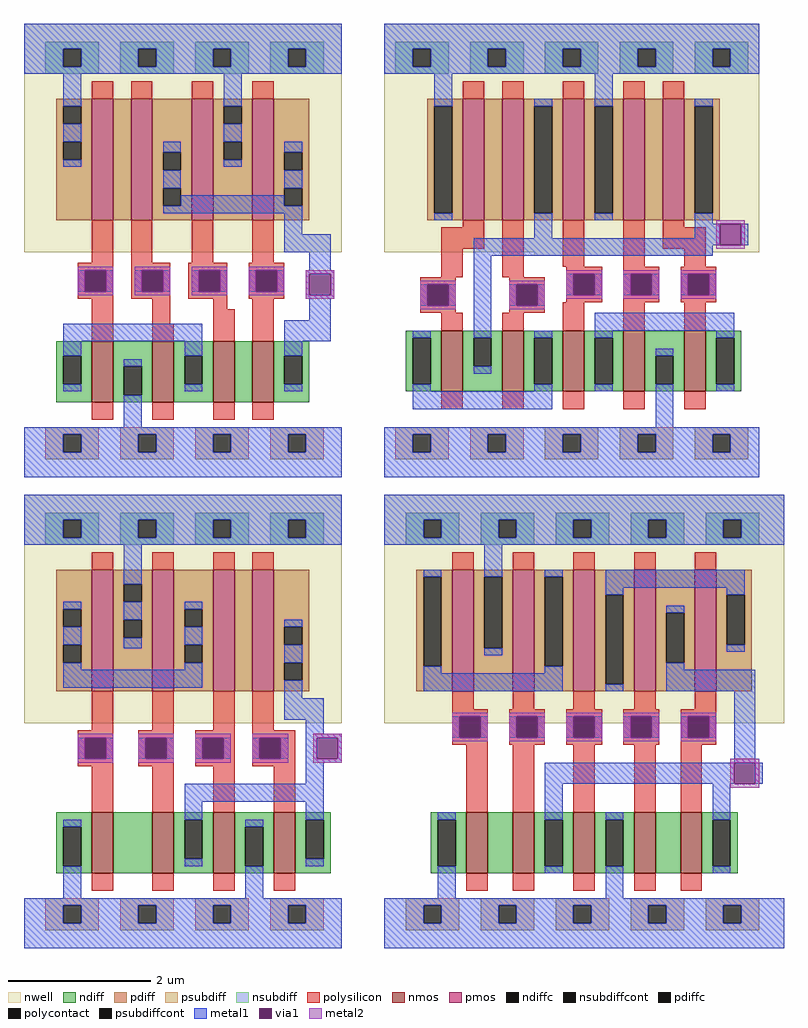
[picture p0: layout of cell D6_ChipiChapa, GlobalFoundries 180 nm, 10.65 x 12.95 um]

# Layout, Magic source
magic
tech gf180mcuD
use gf180mcu_gp9t3v3__aoi221_1  gf180mcu_gp9t3v3__aoi221_1_0 /foss/designs/SSCS-Chipaton-2025_ChipiChapa/designs/aoi221
transform 1 0 107 0 1 5
box -6 -5 106 122
use gf180mcu_gp9t3v3_oai211_1  gf180mcu_gp9t3v3_oai211_1_0 /foss/designs/SSCS-Chipaton-2025_ChipiChapa/designs/oai211
transform 1 0 60 0 1 189
box -60 -57 29 70
use gf180mcu_gp9t3v3_oai221_1  gf180mcu_gp9t3v3_oai221_1_0 /foss/designs/SSCS-Chipaton-2025_ChipiChapa/designs/oai221
transform 1 0 118 0 1 163
box -17 -31 88 96
use gf180mcu_osu_sc_gp9t3v3_aoi211_1  gf180mcu_osu_sc_gp9t3v3_aoi211_1_0 /foss/designs/SSCS-Chipaton-2025_ChipiChapa/designs/aoi211
transform 1 0 18 0 1 18
box -18 -18 71 109
<< end >>

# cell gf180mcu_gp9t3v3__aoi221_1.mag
magic
tech gf180mcuD
<< nwell >>
rect -6 58 106 122
<< nmos >>
rect 17 16 23 33
rect 30 16 36 33
rect 47 16 53 33
rect 64 16 70 33
rect 77 16 83 33
<< pmos >>
rect 13 67 19 101
rect 30 67 36 101
rect 47 67 53 101
rect 64 67 70 101
rect 81 67 87 101
<< ndiff >>
rect 7 31 17 33
rect 7 18 9 31
rect 14 18 17 31
rect 7 16 17 18
rect 23 16 30 33
rect 36 31 47 33
rect 36 18 39 31
rect 44 18 47 31
rect 36 16 47 18
rect 53 31 64 33
rect 53 18 56 31
rect 61 18 64 31
rect 53 16 64 18
rect 70 16 77 33
rect 83 31 93 33
rect 83 18 86 31
rect 91 18 93 31
rect 83 16 93 18
<< pdiff >>
rect 3 99 13 101
rect 3 74 5 99
rect 10 74 13 99
rect 3 67 13 74
rect 19 99 30 101
rect 19 79 22 99
rect 27 79 30 99
rect 19 67 30 79
rect 36 99 47 101
rect 36 74 39 99
rect 44 74 47 99
rect 36 67 47 74
rect 53 94 64 101
rect 53 69 56 94
rect 61 69 64 94
rect 53 67 64 69
rect 70 89 81 101
rect 70 75 73 89
rect 78 75 81 89
rect 70 67 81 75
rect 87 94 97 101
rect 87 80 90 94
rect 95 80 97 94
rect 87 67 97 80
<< ndiffc >>
rect 9 18 14 31
rect 39 18 44 31
rect 56 18 61 31
rect 86 18 91 31
<< pdiffc >>
rect 5 74 10 99
rect 22 79 27 99
rect 39 74 44 99
rect 56 69 61 94
rect 73 75 78 89
rect 90 80 95 94
<< psubdiff >>
rect 0 7 15 9
rect 0 2 5 7
rect 10 2 15 7
rect 0 0 15 2
rect 21 7 36 9
rect 21 2 26 7
rect 31 2 36 7
rect 21 0 36 2
rect 42 7 57 9
rect 42 2 47 7
rect 52 2 57 7
rect 42 0 57 2
rect 63 7 78 9
rect 63 2 68 7
rect 73 2 78 7
rect 63 0 78 2
rect 84 7 99 9
rect 84 2 89 7
rect 94 2 99 7
rect 84 0 99 2
<< nsubdiff >>
rect 0 115 15 117
rect 0 110 5 115
rect 10 110 15 115
rect 0 108 15 110
rect 21 115 36 117
rect 21 110 26 115
rect 31 110 36 115
rect 21 108 36 110
rect 42 115 57 117
rect 42 110 47 115
rect 52 110 57 115
rect 42 108 57 110
rect 63 115 78 117
rect 63 110 68 115
rect 73 110 78 115
rect 63 108 78 110
rect 84 115 99 117
rect 84 110 89 115
rect 94 110 99 115
rect 84 108 99 110
<< psubdiffcont >>
rect 5 2 10 7
rect 26 2 31 7
rect 47 2 52 7
rect 68 2 73 7
rect 89 2 94 7
<< nsubdiffcont >>
rect 5 110 10 115
rect 26 110 31 115
rect 47 110 52 115
rect 68 110 73 115
rect 89 110 94 115
<< polysilicon >>
rect 13 101 19 106
rect 30 101 36 106
rect 47 101 53 106
rect 64 101 70 106
rect 81 101 87 106
rect 13 62 19 67
rect 30 62 36 67
rect 47 62 53 67
rect 64 62 70 67
rect 81 62 87 67
rect 13 60 23 62
rect 13 54 15 60
rect 21 54 23 60
rect 13 52 23 54
rect 29 60 39 62
rect 29 54 31 60
rect 37 54 39 60
rect 29 52 39 54
rect 45 60 55 62
rect 45 54 47 60
rect 53 54 55 60
rect 45 52 55 54
rect 61 60 71 62
rect 61 54 63 60
rect 69 54 71 60
rect 61 52 71 54
rect 77 60 87 62
rect 77 54 79 60
rect 85 54 87 60
rect 77 52 87 54
rect 17 33 23 52
rect 30 33 36 52
rect 47 33 53 52
rect 64 33 70 52
rect 77 33 83 52
rect 17 11 23 16
rect 30 11 36 16
rect 47 11 53 16
rect 64 11 70 16
rect 77 11 83 16
<< polycontact >>
rect 15 54 21 60
rect 31 54 37 60
rect 47 54 53 60
rect 63 54 69 60
rect 79 54 85 60
<< metal1 >>
rect -6 115 106 122
rect -6 110 5 115
rect 10 110 26 115
rect 31 110 47 115
rect 52 110 68 115
rect 73 110 89 115
rect 94 110 106 115
rect -6 108 106 110
rect 5 99 10 101
rect 22 99 27 108
rect 22 77 27 79
rect 39 99 44 101
rect 5 72 10 74
rect 39 72 44 74
rect 5 67 44 72
rect 56 96 95 101
rect 56 94 61 96
rect 90 94 95 96
rect 56 67 61 69
rect 73 89 78 91
rect 90 78 95 80
rect 73 73 78 75
rect 73 67 98 73
rect 13 54 15 60
rect 21 54 23 60
rect 29 54 31 60
rect 37 54 39 60
rect 45 54 47 60
rect 53 54 55 60
rect 61 54 63 60
rect 69 54 71 60
rect 77 54 79 60
rect 85 54 87 60
rect 92 47 98 67
rect 39 41 92 47
rect 98 41 100 47
rect 9 31 14 33
rect 9 9 14 18
rect 39 31 44 41
rect 39 16 44 18
rect 56 31 61 33
rect 56 9 61 18
rect 86 31 91 41
rect 86 16 91 18
rect -6 7 106 9
rect -6 2 5 7
rect 10 2 26 7
rect 31 2 47 7
rect 52 2 68 7
rect 73 2 89 7
rect 94 2 106 7
rect -6 -5 106 2
<< via1 >>
rect 15 54 21 60
rect 31 54 37 60
rect 47 54 53 60
rect 63 54 69 60
rect 79 54 85 60
rect 92 41 98 47
<< metal2 >>
rect 13 60 23 61
rect 13 54 15 60
rect 21 54 23 60
rect 13 53 23 54
rect 29 60 39 61
rect 29 54 31 60
rect 37 54 39 60
rect 29 53 39 54
rect 45 60 55 61
rect 45 54 47 60
rect 53 54 55 60
rect 45 53 55 54
rect 61 60 71 61
rect 61 54 63 60
rect 69 54 71 60
rect 61 53 71 54
rect 77 60 87 61
rect 77 54 79 60
rect 85 54 87 60
rect 77 53 87 54
rect 91 47 99 48
rect 91 41 92 47
rect 98 41 99 47
rect 91 40 99 41
<< labels >>
rlabel metal1 -6 114 -6 114 3 vdd
port 7 e power bidirectional abutment
rlabel metal1 -6 1 -6 1 3 vss
port 8 e ground bidirectional abutment
rlabel polycontact 82 57 82 57 1 A0
port 1 n signal input
rlabel via1 94 41 94 41 1 Y
port 6 n signal output
rlabel polycontact 66 57 66 57 1 A1
port 2 n signal input
rlabel polycontact 50 57 50 57 1 C
port 5 n signal input
rlabel polycontact 34 57 34 57 1 B0
port 3 n signal input
rlabel polycontact 18 57 18 57 1 B1
port 4 n signal input
<< end >>

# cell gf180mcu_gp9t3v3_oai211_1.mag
magic
tech gf180mcuD
<< nwell >>
rect -60 6 29 70
<< nmos >>
rect -41 -36 -35 -19
rect -24 -36 -18 -19
rect -7 -36 -1 -19
rect 4 -36 10 -19
<< pmos >>
rect -41 15 -35 49
rect -30 15 -24 49
rect -13 15 -7 49
rect 4 15 10 49
<< ndiff >>
rect -51 -23 -41 -19
rect -51 -31 -49 -23
rect -44 -31 -41 -23
rect -51 -36 -41 -31
rect -35 -26 -24 -19
rect -35 -34 -32 -26
rect -27 -34 -24 -26
rect -35 -36 -24 -34
rect -18 -23 -7 -19
rect -18 -31 -15 -23
rect -10 -31 -7 -23
rect -18 -36 -7 -31
rect -1 -36 4 -19
rect 10 -23 20 -19
rect 10 -31 13 -23
rect 18 -31 20 -23
rect 10 -36 20 -31
<< pdiff >>
rect -51 47 -41 49
rect -51 42 -49 47
rect -44 42 -41 47
rect -51 37 -41 42
rect -51 32 -49 37
rect -44 32 -41 37
rect -51 15 -41 32
rect -35 15 -30 49
rect -24 34 -13 49
rect -24 29 -21 34
rect -16 29 -13 34
rect -24 24 -13 29
rect -24 19 -21 24
rect -16 19 -13 24
rect -24 15 -13 19
rect -7 47 4 49
rect -7 42 -4 47
rect 1 42 4 47
rect -7 37 4 42
rect -7 32 -4 37
rect 1 32 4 37
rect -7 15 4 32
rect 10 34 20 49
rect 10 29 13 34
rect 18 29 20 34
rect 10 24 20 29
rect 10 19 13 24
rect 18 19 20 24
rect 10 15 20 19
<< ndiffc >>
rect -49 -31 -44 -23
rect -32 -34 -27 -26
rect -15 -31 -10 -23
rect 13 -31 18 -23
<< pdiffc >>
rect -49 42 -44 47
rect -49 32 -44 37
rect -21 29 -16 34
rect -21 19 -16 24
rect -4 42 1 47
rect -4 32 1 37
rect 13 29 18 34
rect 13 19 18 24
<< psubdiff >>
rect -54 -45 -39 -43
rect -54 -50 -49 -45
rect -44 -50 -39 -45
rect -54 -52 -39 -50
rect -33 -45 -18 -43
rect -33 -50 -28 -45
rect -23 -50 -18 -45
rect -33 -52 -18 -50
rect -12 -45 3 -43
rect -12 -50 -7 -45
rect -2 -50 3 -45
rect -12 -52 3 -50
rect 9 -45 24 -43
rect 9 -50 14 -45
rect 19 -50 24 -45
rect 9 -52 24 -50
<< nsubdiff >>
rect -54 63 -39 65
rect -54 58 -49 63
rect -44 58 -39 63
rect -54 56 -39 58
rect -33 63 -18 65
rect -33 58 -28 63
rect -23 58 -18 63
rect -33 56 -18 58
rect -12 63 3 65
rect -12 58 -7 63
rect -2 58 3 63
rect -12 56 3 58
rect 9 63 24 65
rect 9 58 14 63
rect 19 58 24 63
rect 9 56 24 58
<< psubdiffcont >>
rect -49 -50 -44 -45
rect -28 -50 -23 -45
rect -7 -50 -2 -45
rect 14 -50 19 -45
<< nsubdiffcont >>
rect -49 58 -44 63
rect -28 58 -23 63
rect -7 58 -2 63
rect 14 58 19 63
<< polysilicon >>
rect -41 49 -35 54
rect -30 49 -24 54
rect -13 49 -7 54
rect 4 49 10 54
rect -41 3 -35 15
rect -45 1 -35 3
rect -45 -5 -43 1
rect -37 -5 -35 1
rect -45 -7 -35 -5
rect -30 3 -24 15
rect -13 3 -7 15
rect 4 3 10 15
rect -30 1 -19 3
rect -30 -5 -27 1
rect -21 -5 -19 1
rect -30 -7 -19 -5
rect -14 1 -3 3
rect -14 -5 -11 1
rect -5 -5 -3 1
rect -14 -7 -3 -5
rect 3 1 13 3
rect 3 -5 5 1
rect 11 -5 13 1
rect 3 -7 13 -5
rect -41 -19 -35 -7
rect -24 -14 -19 -7
rect -7 -10 -3 -7
rect -24 -19 -18 -14
rect -7 -19 -1 -10
rect 4 -19 10 -7
rect -41 -41 -35 -36
rect -24 -41 -18 -36
rect -7 -41 -1 -36
rect 4 -41 10 -36
<< polycontact >>
rect -43 -5 -37 1
rect -27 -5 -21 1
rect -11 -5 -5 1
rect 5 -5 11 1
<< metal1 >>
rect -60 63 29 70
rect -60 58 -49 63
rect -44 58 -28 63
rect -23 58 -7 63
rect -2 58 14 63
rect 19 58 29 63
rect -60 56 29 58
rect -49 47 -44 56
rect -49 37 -44 42
rect -4 47 1 56
rect -4 37 1 42
rect -49 30 -44 32
rect -21 34 -16 37
rect -4 30 1 32
rect 13 34 18 37
rect -21 24 -16 29
rect 13 24 18 29
rect -16 19 13 22
rect -21 17 18 19
rect 13 11 18 17
rect 13 6 26 11
rect 20 1 26 6
rect -45 -5 -43 1
rect -37 -5 -35 1
rect -29 -5 -27 1
rect -21 -5 -19 1
rect -13 -5 -11 1
rect -5 -5 -3 1
rect 3 -5 5 1
rect 11 -5 13 1
rect 19 0 27 1
rect 19 -6 20 0
rect 26 -6 27 0
rect 19 -7 27 -6
rect 20 -13 26 -7
rect -49 -19 -10 -14
rect -49 -23 -44 -19
rect -15 -23 -10 -19
rect -49 -33 -44 -31
rect -32 -26 -27 -24
rect -15 -33 -10 -31
rect 13 -19 26 -13
rect 13 -23 18 -19
rect 13 -33 18 -31
rect -32 -43 -27 -34
rect -60 -45 29 -43
rect -60 -50 -49 -45
rect -44 -50 -28 -45
rect -23 -50 -7 -45
rect -2 -50 14 -45
rect 19 -50 29 -45
rect -60 -57 29 -50
<< via1 >>
rect -43 -5 -37 1
rect -27 -5 -21 1
rect -11 -5 -5 1
rect 5 -5 11 1
rect 20 -6 26 0
<< metal2 >>
rect -45 1 -35 2
rect -45 -5 -43 1
rect -37 -5 -35 1
rect -45 -6 -35 -5
rect -29 1 -19 2
rect -29 -5 -27 1
rect -21 -5 -19 1
rect -29 -6 -19 -5
rect -13 1 -3 2
rect -13 -5 -11 1
rect -5 -5 -3 1
rect -13 -6 -3 -5
rect 3 1 13 2
rect 3 -5 5 1
rect 11 -5 13 1
rect 3 -6 13 -5
rect 19 0 27 1
rect 19 -6 20 0
rect 26 -6 27 0
rect 19 -7 27 -6
<< labels >>
rlabel metal2 -27 -5 -21 1 0 A1
rlabel metal2 -11 -5 -5 1 0 B
rlabel metal2 5 -5 11 1 0 C
rlabel nsubdiffcont -49 58 -44 63 0 vdd
rlabel psubdiffcont -49 -50 -44 -45 0 vss
rlabel metal2 20 -6 26 0 0 Y
rlabel metal2 -43 -5 -37 1 0 A0
<< end >>

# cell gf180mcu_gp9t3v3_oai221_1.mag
magic
tech gf180mcuD
<< nwell >>
rect -17 32 88 96
rect 25 31 75 32
<< nmos >>
rect -1 -7 5 10
rect 16 -7 22 10
rect 33 -7 39 10
rect 50 -7 56 10
rect 67 -7 73 10
<< pmos >>
rect 5 41 11 75
rect 16 41 22 75
rect 33 41 39 75
rect 50 41 56 75
rect 61 41 67 75
<< ndiff >>
rect -11 8 -1 10
rect -11 -5 -9 8
rect -4 -5 -1 8
rect -11 -7 -1 -5
rect 5 8 16 10
rect 5 0 8 8
rect 13 0 16 8
rect 5 -7 16 0
rect 22 8 33 10
rect 22 -5 25 8
rect 30 -5 33 8
rect 22 -7 33 -5
rect 39 8 50 10
rect 39 -5 42 8
rect 47 -5 50 8
rect 39 -7 50 -5
rect 56 3 67 10
rect 56 -5 59 3
rect 64 -5 67 3
rect 56 -7 67 -5
rect 73 8 83 10
rect 73 -5 76 8
rect 81 -5 83 8
rect 73 -7 83 -5
<< pdiff >>
rect -5 73 5 75
rect -5 43 -3 73
rect 2 43 5 73
rect -5 41 5 43
rect 11 41 16 75
rect 22 73 33 75
rect 22 43 25 73
rect 30 43 33 73
rect 22 41 33 43
rect 39 73 50 75
rect 39 43 42 73
rect 47 43 50 73
rect 39 41 50 43
rect 56 41 61 75
rect 67 73 77 75
rect 67 43 70 73
rect 75 43 77 73
rect 67 41 77 43
<< ndiffc >>
rect -9 -5 -4 8
rect 8 0 13 8
rect 25 -5 30 8
rect 42 -5 47 8
rect 59 -5 64 3
rect 76 -5 81 8
<< pdiffc >>
rect -3 43 2 73
rect 25 43 30 73
rect 42 43 47 73
rect 70 43 75 73
<< psubdiff >>
rect -14 -19 1 -17
rect -14 -24 -9 -19
rect -4 -24 1 -19
rect -14 -26 1 -24
rect 7 -19 22 -17
rect 7 -24 12 -19
rect 17 -24 22 -19
rect 7 -26 22 -24
rect 28 -19 43 -17
rect 28 -24 33 -19
rect 38 -24 43 -19
rect 28 -26 43 -24
rect 49 -19 64 -17
rect 49 -24 54 -19
rect 59 -24 64 -19
rect 49 -26 64 -24
rect 70 -19 85 -17
rect 70 -24 75 -19
rect 80 -24 85 -19
rect 70 -26 85 -24
<< nsubdiff >>
rect -14 89 1 91
rect -14 84 -9 89
rect -4 84 1 89
rect -14 82 1 84
rect 7 89 22 91
rect 7 84 12 89
rect 17 84 22 89
rect 7 82 22 84
rect 28 89 43 91
rect 28 84 33 89
rect 38 84 43 89
rect 28 82 43 84
rect 49 89 64 91
rect 49 84 54 89
rect 59 84 64 89
rect 49 82 64 84
rect 70 89 85 91
rect 70 84 75 89
rect 80 84 85 89
rect 70 82 85 84
<< psubdiffcont >>
rect -9 -24 -4 -19
rect 12 -24 17 -19
rect 33 -24 38 -19
rect 54 -24 59 -19
rect 75 -24 80 -19
<< nsubdiffcont >>
rect -9 84 -4 89
rect 12 84 17 89
rect 33 84 38 89
rect 54 84 59 89
rect 75 84 80 89
<< polysilicon >>
rect 5 75 11 80
rect 16 75 22 80
rect 33 75 39 80
rect 50 75 56 80
rect 61 75 67 80
rect 5 39 11 41
rect -1 33 11 39
rect -1 25 5 33
rect 16 25 22 41
rect 33 28 39 41
rect 50 28 56 41
rect 61 39 67 41
rect 61 33 73 39
rect 67 28 73 33
rect 34 26 44 28
rect -7 23 3 25
rect -7 17 -5 23
rect 1 17 3 23
rect -7 15 3 17
rect 18 23 28 25
rect 18 17 20 23
rect 26 17 28 23
rect 34 20 36 26
rect 42 20 44 26
rect 34 18 44 20
rect 50 26 60 28
rect 50 20 52 26
rect 58 20 60 26
rect 50 18 60 20
rect 66 26 76 28
rect 66 20 68 26
rect 74 20 76 26
rect 66 18 76 20
rect 18 15 28 17
rect -1 10 5 15
rect 16 10 22 15
rect 33 10 39 18
rect 50 10 56 18
rect 67 10 73 18
rect -1 -12 5 -7
rect 16 -12 22 -7
rect 33 -12 39 -7
rect 50 -12 56 -7
rect 67 -12 73 -7
<< polycontact >>
rect -5 17 1 23
rect 20 17 26 23
rect 36 20 42 26
rect 52 20 58 26
rect 68 20 74 26
<< metal1 >>
rect -17 89 88 96
rect -17 84 -9 89
rect -4 84 12 89
rect 17 84 33 89
rect 38 84 54 89
rect 59 84 75 89
rect 80 84 88 89
rect -17 82 88 84
rect -3 73 2 82
rect -3 41 2 43
rect 25 73 30 75
rect 25 36 30 43
rect 42 73 47 82
rect 42 41 47 43
rect 70 73 75 75
rect 70 40 75 43
rect 70 36 77 40
rect 8 34 77 36
rect 83 34 85 40
rect 8 31 75 34
rect -7 17 -5 23
rect 1 17 3 23
rect -9 8 -4 10
rect 8 8 13 31
rect 18 17 20 23
rect 26 17 28 23
rect 34 20 36 26
rect 42 20 44 26
rect 50 20 52 26
rect 58 20 60 26
rect 66 20 68 26
rect 74 20 76 26
rect 42 10 81 15
rect 8 -2 13 0
rect 25 8 30 10
rect -9 -7 -4 -5
rect 25 -7 30 -5
rect 42 8 47 10
rect 76 8 81 10
rect 42 -7 47 -5
rect 59 3 64 5
rect -9 -12 30 -7
rect 59 -17 64 -5
rect 76 -7 81 -5
rect -17 -19 88 -17
rect -17 -24 -9 -19
rect -4 -24 12 -19
rect 17 -24 33 -19
rect 38 -24 54 -19
rect 59 -24 75 -19
rect 80 -24 88 -19
rect -17 -31 88 -24
<< via1 >>
rect 77 34 83 40
rect -5 17 1 23
rect 20 17 26 23
rect 36 20 42 26
rect 52 20 58 26
rect 68 20 74 26
<< metal2 >>
rect 76 40 84 41
rect 76 34 77 40
rect 83 34 84 40
rect 76 33 84 34
rect 34 26 44 27
rect -7 23 3 24
rect -7 17 -5 23
rect 1 17 3 23
rect -7 16 3 17
rect 18 23 28 24
rect 18 17 20 23
rect 26 17 28 23
rect 34 20 36 26
rect 42 20 44 26
rect 34 19 44 20
rect 50 26 60 27
rect 50 20 52 26
rect 58 20 60 26
rect 50 19 60 20
rect 66 26 76 27
rect 66 20 68 26
rect 74 20 76 26
rect 66 19 76 20
rect 18 16 28 17
<< labels >>
rlabel metal2 -5 17 1 23 1 A0
rlabel metal2 20 17 26 23 1 A1
rlabel metal2 36 20 42 26 1 C
rlabel metal2 52 20 58 26 1 B0
rlabel metal2 68 20 74 26 1 B1
rlabel via1 77 34 83 40 1 Y
rlabel nsubdiffcont -9 84 -4 89 1 vdd
rlabel psubdiffcont -9 -24 -4 -19 1 vss
<< end >>

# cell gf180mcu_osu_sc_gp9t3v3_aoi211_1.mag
magic
tech gf180mcuD
<< nwell >>
rect -18 45 71 109
<< nmos >>
rect 1 3 7 20
rect 18 3 24 20
rect 35 3 41 20
rect 52 3 58 20
<< pmos >>
rect 1 54 7 88
rect 18 54 24 88
rect 35 54 41 88
rect 46 54 52 88
<< ndiff >>
rect -9 16 1 20
rect -9 5 -7 16
rect -2 5 1 16
rect -9 3 1 5
rect 7 3 18 20
rect 24 18 35 20
rect 24 7 27 18
rect 32 7 35 18
rect 24 3 35 7
rect 41 16 52 20
rect 41 5 44 16
rect 49 5 52 16
rect 41 3 52 5
rect 58 18 68 20
rect 58 7 61 18
rect 66 7 68 18
rect 58 3 68 7
<< pdiff >>
rect -9 77 1 88
rect -9 72 -7 77
rect -2 72 1 77
rect -9 67 1 72
rect -9 62 -7 67
rect -2 62 1 67
rect -9 54 1 62
rect 7 84 18 88
rect 7 79 10 84
rect 15 79 18 84
rect 7 74 18 79
rect 7 69 10 74
rect 15 69 18 74
rect 7 54 18 69
rect 24 77 35 88
rect 24 72 27 77
rect 32 72 35 77
rect 24 67 35 72
rect 24 62 27 67
rect 32 62 35 67
rect 24 54 35 62
rect 41 54 46 88
rect 52 72 62 88
rect 52 67 55 72
rect 60 67 62 72
rect 52 62 62 67
rect 52 57 55 62
rect 60 57 62 62
rect 52 54 62 57
<< ndiffc >>
rect -7 5 -2 16
rect 27 7 32 18
rect 44 5 49 16
rect 61 7 66 18
<< pdiffc >>
rect -7 72 -2 77
rect -7 62 -2 67
rect 10 79 15 84
rect 10 69 15 74
rect 27 72 32 77
rect 27 62 32 67
rect 55 67 60 72
rect 55 57 60 62
<< psubdiff >>
rect -12 -6 3 -4
rect -12 -11 -7 -6
rect -2 -11 3 -6
rect -12 -13 3 -11
rect 9 -6 24 -4
rect 9 -11 14 -6
rect 19 -11 24 -6
rect 9 -13 24 -11
rect 30 -6 45 -4
rect 30 -11 35 -6
rect 40 -11 45 -6
rect 30 -13 45 -11
rect 51 -6 66 -4
rect 51 -11 56 -6
rect 61 -11 66 -6
rect 51 -13 66 -11
<< nsubdiff >>
rect -12 102 3 104
rect -12 97 -7 102
rect -2 97 3 102
rect -12 95 3 97
rect 9 102 24 104
rect 9 97 14 102
rect 19 97 24 102
rect 9 95 24 97
rect 30 102 45 104
rect 30 97 35 102
rect 40 97 45 102
rect 30 95 45 97
rect 51 102 66 104
rect 51 97 56 102
rect 61 97 66 102
rect 51 95 66 97
<< psubdiffcont >>
rect -7 -11 -2 -6
rect 14 -11 19 -6
rect 35 -11 40 -6
rect 56 -11 61 -6
<< nsubdiffcont >>
rect -7 97 -2 102
rect 14 97 19 102
rect 35 97 40 102
rect 56 97 61 102
<< polysilicon >>
rect 1 88 7 93
rect 18 88 24 93
rect 35 88 41 93
rect 46 88 52 93
rect 1 43 7 54
rect 18 43 24 54
rect 35 43 41 54
rect -3 41 7 43
rect -3 35 -1 41
rect 5 35 7 41
rect -3 33 7 35
rect 14 41 24 43
rect 14 35 16 41
rect 22 35 24 41
rect 14 33 24 35
rect 30 41 41 43
rect 30 35 32 41
rect 38 35 41 41
rect 30 33 41 35
rect 46 43 52 54
rect 46 41 58 43
rect 46 35 48 41
rect 54 35 58 41
rect 46 33 58 35
rect 1 20 7 33
rect 18 20 24 33
rect 35 20 41 33
rect 52 20 58 33
rect 1 -2 7 3
rect 18 -2 24 3
rect 35 -2 41 3
rect 52 -2 58 3
<< polycontact >>
rect -1 35 5 41
rect 16 35 22 41
rect 32 35 38 41
rect 48 35 54 41
<< metal1 >>
rect -18 102 71 109
rect -18 97 -7 102
rect -2 97 14 102
rect 19 97 35 102
rect 40 97 56 102
rect 61 97 71 102
rect -18 95 71 97
rect 10 84 15 95
rect -7 77 -2 79
rect -7 67 -2 72
rect 10 74 15 79
rect 10 66 15 69
rect 27 77 32 79
rect 27 67 32 72
rect -7 60 -2 62
rect 27 60 32 62
rect -7 55 32 60
rect 55 72 60 74
rect 55 62 60 67
rect 55 52 60 57
rect 55 46 66 52
rect 61 42 66 46
rect 61 41 71 42
rect -3 35 -1 41
rect 5 35 7 41
rect 14 35 16 41
rect 22 35 24 41
rect 30 35 32 41
rect 38 35 40 41
rect 46 35 48 41
rect 54 35 56 41
rect 61 35 64 41
rect 70 35 71 41
rect 61 34 71 35
rect 61 28 66 34
rect 27 23 66 28
rect 27 18 32 23
rect 61 18 66 23
rect -7 16 -2 18
rect 27 5 32 7
rect 44 16 49 18
rect 61 5 66 7
rect -7 -4 -2 5
rect 44 -4 49 5
rect -18 -6 71 -4
rect -18 -11 -7 -6
rect -2 -11 14 -6
rect 19 -11 35 -6
rect 40 -11 56 -6
rect 61 -11 71 -6
rect -18 -18 71 -11
<< via1 >>
rect -1 35 5 41
rect 16 35 22 41
rect 32 35 38 41
rect 48 35 54 41
rect 64 35 70 41
<< metal2 >>
rect -3 41 7 42
rect -3 35 -1 41
rect 5 35 7 41
rect -3 34 7 35
rect 14 41 24 42
rect 14 35 16 41
rect 22 35 24 41
rect 14 34 24 35
rect 30 41 40 42
rect 30 35 32 41
rect 38 35 40 41
rect 30 34 40 35
rect 46 41 56 42
rect 46 35 48 41
rect 54 35 56 41
rect 46 34 56 35
rect 63 41 71 42
rect 63 35 64 41
rect 70 35 71 41
rect 63 34 71 35
<< labels >>
rlabel via1 64 35 70 41 1 Y
port 11 e signal output
rlabel psubdiffcont -7 -11 -2 -6 1 vss
port 12 s ground bidirectional
rlabel metal2 32 35 38 41 1 B
port 9 w signal input
rlabel metal2 48 35 54 41 1 C
port 10 w signal input
rlabel nsubdiffcont -7 97 -2 102 1 vdd
port 1 n power bidirectional
rlabel metal2 16 35 22 41 1 A0
port 3 n signal input
rlabel metal2 -1 35 5 41 1 A1
port 8 w signal input
<< end >>
